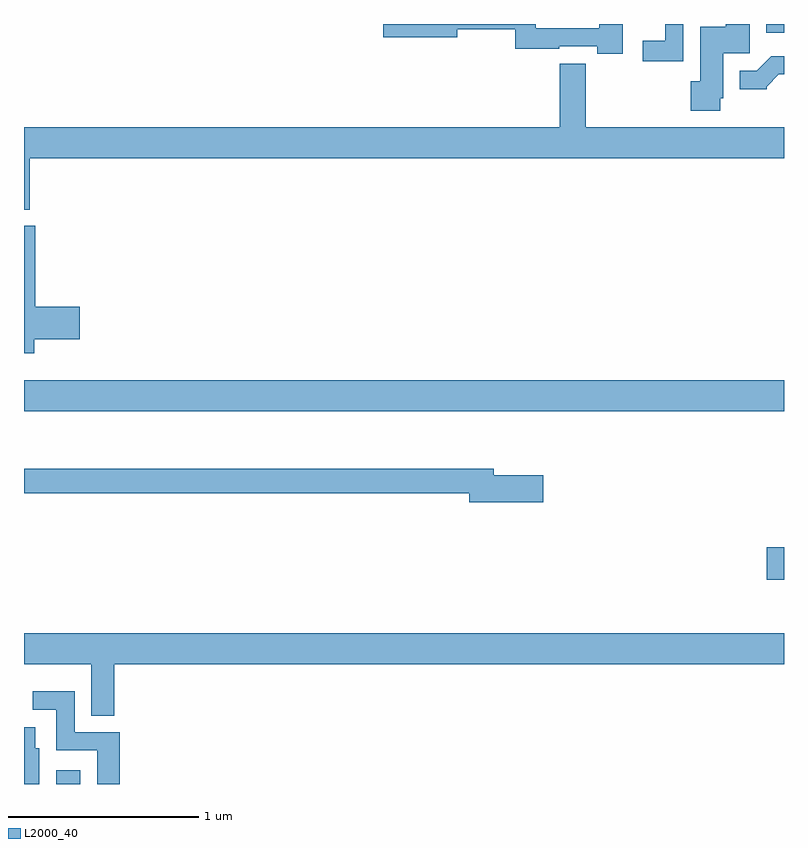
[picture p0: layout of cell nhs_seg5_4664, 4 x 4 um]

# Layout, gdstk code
import gdstk
lib = gdstk.Library(unit=1e-6, precision=1e-09)
def R(c, l, rs):  # rectangles x0, y0, x1, y1
    for r in rs: c.add(gdstk.rectangle(r[:2], r[2:], *l))
def P(c, l, *ps):  # polygons
    for p in ps: c.add(gdstk.Polygon(p, *l))
L2000_40 = (2000, 40)

nhs_seg5_4664 = lib.new_cell('nhs_seg5_4664')
R(nhs_seg5_4664, L2000_40, [(385.17,854.799,385.297,854.872), (388.908,855.875,389,856.046), (385,856.76,389,856.924), (388.907,858.753,389,858.799)])
P(nhs_seg5_4664, L2000_40, [(388.47,858.799),(388.374,858.799),(388.374,858.711),(388.257,858.711),(388.257,858.603),(388.47,858.603)],
  [(388.665,858.408),(388.681,858.408),(388.681,858.645),(388.819,858.645),(388.819,858.799),(388.694,858.799),(388.694,858.784),(388.559,858.784),(388.559,858.498),(388.508,858.498),(388.508,858.342),(388.665,858.342)],
  [(388.15,858.799),(388.028,858.799),(388.028,858.777),(387.693,858.777),(387.693,858.799),(386.892,858.799),(386.892,858.73),(387.28,858.73),(387.28,858.772),(387.585,858.772),(387.585,858.669),(387.816,858.669),(387.816,858.681),(388.016,858.681),(388.016,858.643),(388.15,858.643)],
  [(388.908,858.47),(388.972,858.534),(389,858.534),(389,858.628),(388.933,858.628),(388.857,858.552),(388.766,858.552),(388.766,858.455),(388.908,858.455)],
  [(385.03,858.092),(389,858.092),(389,858.256),(387.956,858.256),(387.956,858.589),(387.82,858.589),(387.82,858.256),(385,858.256),(385,857.821),(385.03,857.821)],
  [(385.055,857.141),(385.294,857.141),(385.294,857.312),(385.06,857.312),(385.06,857.736),(385,857.736),(385,857.067),(385.055,857.067)],
  [(387.733,856.425),(387.472,856.425),(387.472,856.459),(385,856.459),(385,856.33),(387.344,856.33),(387.344,856.283),(387.733,856.283)],
  [(385.474,855.428),(389,855.428),(389,855.592),(385,855.592),(385,855.428),(385.355,855.428),(385.355,855.157),(385.474,855.157)],
  [(385.504,855.072),(385.266,855.072),(385.266,855.286),(385.047,855.286),(385.047,855.189),(385.17,855.189),(385.17,854.976),(385.385,854.976),(385.385,854.799),(385.504,854.799)],
  [(385.081,854.988),(385.06,854.988),(385.06,855.097),(385,855.097),(385,854.799),(385.081,854.799)])

lib.write_gds('nhs_seg5_4664.gds')
